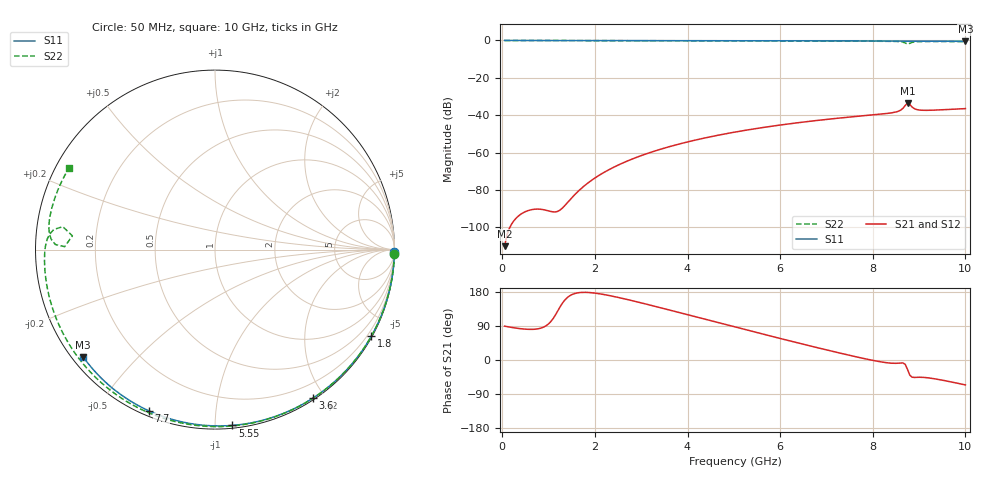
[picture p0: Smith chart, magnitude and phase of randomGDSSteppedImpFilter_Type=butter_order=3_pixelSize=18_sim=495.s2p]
! freq	dB(S11)	phase(S11)	dB(S12)	phase(S12)
!  dB(S21)	phase(S21)	dB(S22)	phase(S22)
!S-par simulation data
#  GHz  S  DB  R 50
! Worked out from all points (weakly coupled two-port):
!   200 points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, 50 MHz to 10 GHz, reference 50 ohm
!   highest |S21| = -33.54 dB at 8.75 GHz (marker M1); lowest = -110.1 dB at 50 MHz (marker M2)
!   lowest |S11| = -0.5 dB at 10 GHz (marker M3), VSWR 36.68, Z = 1.54 - j17.8 ohm
!   |S11| at or under -10 dB: nowhere
!   |S22| runs from -2.0 to 0.0 dB; largest |S21 - S12| = 0
!   S11 on the Smith chart (normalised r, x): 50 MHz: open; 1.8 GHz: 0.03, -3.86; 3.6 GHz: 0.02, -1.86; 5.55 GHz: 0.02, -1.10; 7.7 GHz: 0.02, -0.67; 10 GHz: 0.03, -0.36
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0.05  -0.00 -0.8  -110.13 89.3  -110.13 89.3  -0.00 -1.3
0.8  -0.02 -13.0  -90.31 83.0  -90.31 83.0  -0.03 -20.0
1.65  -0.03 -26.6  -80.47 177.6  -80.47 177.6  -0.05 -40.7
1.75  -0.04 -28.2  -78.27 178.5  -78.27 178.5  -0.05 -43.1
1.8  -0.04 -29.0  -77.25 178.5  -77.25 178.5  -0.06 -44.3
2.1  -0.04 -33.7  -72.05 174.7  -72.05 174.7  -0.07 -51.4
2.45  -0.05 -39.2  -67.33 166.5  -67.33 166.5  -0.08 -59.5
3.4  -0.07 -53.6  -58.36 138.5  -58.36 138.5  -0.10 -80.6
3.6  -0.08 -56.6  -56.91 132.2  -56.91 132.2  -0.11 -84.9
4.3  -0.09 -66.8  -52.60 110.0  -52.60 110.0  -0.14 -99.5
5.05  -0.12 -77.4  -48.94 86.3  -48.94 86.3  -0.17 -114.5
5.55  -0.14 -84.3  -46.90 70.7  -46.90 70.7  -0.20 -124.2
6.7  -0.19 -99.6  -43.10 35.6  -43.10 35.6  -0.27 -146.0
7.7  -0.26 -112.4  -40.53 6.8  -40.53 6.8  -0.36 -165.0
8.35  -0.31 -120.5  -38.95 -7.9  -38.95 -7.9  -0.45 -178.3
8.6  -0.33 -123.6  -37.34 -7.8  -37.34 -7.8  -0.66 174.8
8.7  -0.34 -124.9  -34.82 -11.3  -34.82 -11.3  -1.34 171.4
8.75  -0.34 -125.5  -33.54 -24.9  -33.54 -24.9  -1.96 174.5
8.8  -0.34 -126.1  -34.29 -40.1  -34.29 -40.1  -1.54 178.9
8.9  -0.35 -127.3  -36.53 -46.0  -36.53 -46.0  -0.78 176.4
9.05  -0.37 -129.2  -37.35 -45.6  -37.35 -45.6  -0.59 171.9
10  -0.47 -140.8  -36.48 -65.8  -36.48 -65.8  -0.61 150.9
